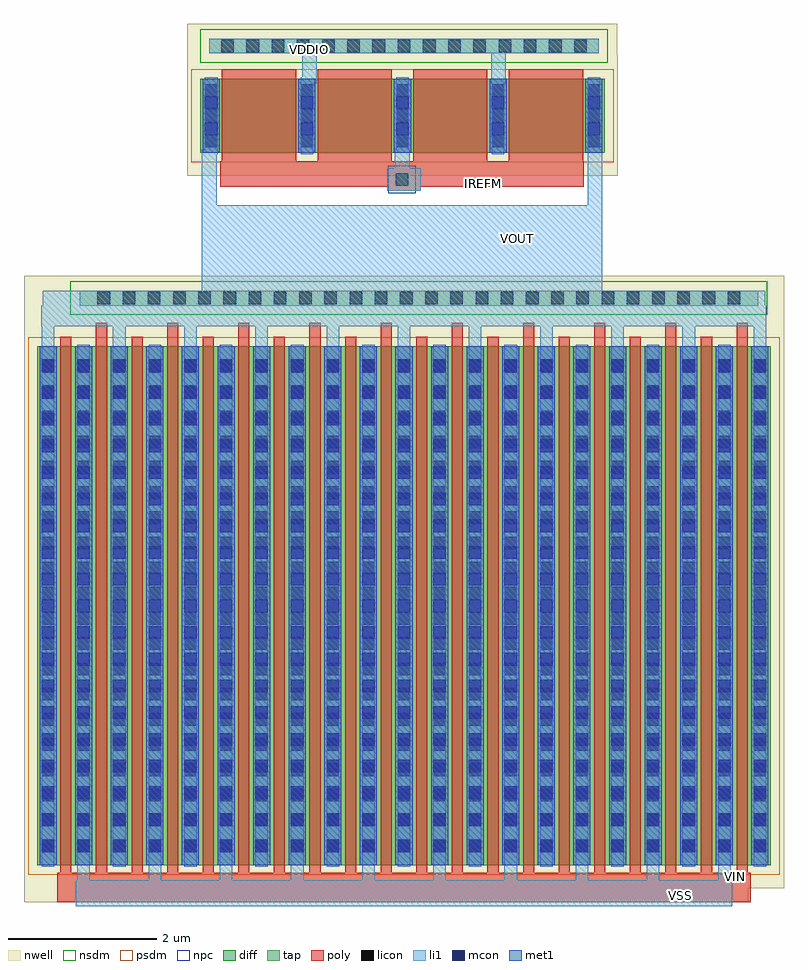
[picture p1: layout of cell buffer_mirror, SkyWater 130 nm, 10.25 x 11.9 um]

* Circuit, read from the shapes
.subckt buffer_mirror IREFM VDDIO VIN VOUT VSS
XM1 VSS VIN VOUT VOUT sky130_fd_pr__pfet_01v8 w=7 l=0.15 m=20
XM2 VDDIO IREFM VOUT VDDIO sky130_fd_pr__pfet_01v8 w=1 l=1 m=2
XM3 IREFM IREFM VDDIO VDDIO sky130_fd_pr__pfet_01v8 w=1 l=1 m=2
.ends

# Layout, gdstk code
import gdstk
lib = gdstk.Library(unit=1e-6, precision=1e-09)
def R(c, l, rs):  # rectangles x0, y0, x1, y1
    for r in rs: c.add(gdstk.rectangle(r[:2], r[2:], *l))
def A(c, l, x, y, w, h, nx, ny, dx, dy):  # array of equal rectangles
    R(c, l, [(x+i*dx, y+j*dy, x+i*dx+w, y+j*dy+h) for i in range(nx) for j in range(ny)])
nwell = (64, 20)
diff = (65, 20)
tap = (65, 44)
poly = (66, 20)
licon = (66, 44)
li1 = (67, 20)
mcon = (67, 44)
met1 = (68, 20)
nsdm = (93, 44)
psdm = (94, 20)
npc = (95, 20)

sky130_fd_pr__pfet_01v8_ = lib.new_cell('sky130_fd_pr__pfet_01v8_5R6ESJ')
R(sky130_fd_pr__pfet_01v8_, nwell, [(-2.905,-0.81,2.905,0.81)])
R(sky130_fd_pr__pfet_01v8_, diff, [(-2.725,-0.5,2.725,0.5)])
A(sky130_fd_pr__pfet_01v8_, poly, -2.435, -0.63, 1, 1.26, 4, 1, 1.29, 0)
A(sky130_fd_pr__pfet_01v8_, licon, -2.665, -0.425, 0.17, 0.17, 5, 3, 1.29, 0.34)
A(sky130_fd_pr__pfet_01v8_, li1, -2.665, -0.52, 0.17, 1.04, 5, 1, 1.29, 0)
A(sky130_fd_pr__pfet_01v8_, mcon, -2.665, -0.265, 0.17, 0.17, 5, 2, 1.29, 0.36)
A(sky130_fd_pr__pfet_01v8_, met1, -2.695, -0.5, 0.23, 1, 5, 1, 1.29, 0)
R(sky130_fd_pr__pfet_01v8_, psdm, [(-2.85,-0.625,2.85,0.625)])
sky130_fd_pr__pfet_01v8_.add(gdstk.Label('S3', (1.29,0), layer=67, texttype=5))
sky130_fd_pr__pfet_01v8_.add(gdstk.Label('D2', (0,0), layer=67, texttype=5))
sky130_fd_pr__pfet_01v8_.add(gdstk.Label('S1', (-1.29,0), layer=67, texttype=5))
sky130_fd_pr__pfet_01v8_.add(gdstk.Label('D0', (-2.58,0), layer=67, texttype=5))

c_sky130_fd_pr__pfet_01v8_ = lib.new_cell('sky130_fd_pr__pfet_01v8_RWCRRT')
R(c_sky130_fd_pr__pfet_01v8_, nwell, [(-2.725,-4,2.245,-3.81), (-2.725,-3.81,2.725,3.81), (-2.245,3.81,2.725,4)])
R(c_sky130_fd_pr__pfet_01v8_, diff, [(-2.545,-3.5,2.545,3.5)])
A(c_sky130_fd_pr__pfet_01v8_, poly, -2.235, -3.82, 0.15, 7.45, 5, 1, 0.96, 0)
A(c_sky130_fd_pr__pfet_01v8_, poly, -1.755, -3.63, 0.15, 7.45, 5, 1, 0.96, 0)
A(c_sky130_fd_pr__pfet_01v8_, licon, -2.485, -3.315, 0.17, 0.17, 11, 20, 0.48, 0.34)
A(c_sky130_fd_pr__pfet_01v8_, li1, -2.485, -3.52, 0.17, 7.04, 11, 1, 0.48, 0)
A(c_sky130_fd_pr__pfet_01v8_, mcon, -2.485, -3.325, 0.17, 0.17, 11, 19, 0.48, 0.36)
A(c_sky130_fd_pr__pfet_01v8_, met1, -2.515, -3.5, 0.23, 7, 11, 1, 0.48, 0)
R(c_sky130_fd_pr__pfet_01v8_, psdm, [(-2.67,-3.625,2.67,3.625)])
c_sky130_fd_pr__pfet_01v8_.add(gdstk.Label('S7', (0.96,0), layer=67, texttype=5))
c_sky130_fd_pr__pfet_01v8_.add(gdstk.Label('D6', (0.48,0), layer=67, texttype=5))
c_sky130_fd_pr__pfet_01v8_.add(gdstk.Label('S5', (0,0), layer=67, texttype=5))
c_sky130_fd_pr__pfet_01v8_.add(gdstk.Label('D4', (-0.48,0), layer=67, texttype=5))
c_sky130_fd_pr__pfet_01v8_.add(gdstk.Label('D8', (1.44,0), layer=67, texttype=5))
c_sky130_fd_pr__pfet_01v8_.add(gdstk.Label('S3', (-0.96,0), layer=67, texttype=5))
c_sky130_fd_pr__pfet_01v8_.add(gdstk.Label('S9', (1.92,0), layer=67, texttype=5))
c_sky130_fd_pr__pfet_01v8_.add(gdstk.Label('D2', (-1.44,0), layer=67, texttype=5))
c_sky130_fd_pr__pfet_01v8_.add(gdstk.Label('S1', (-1.92,0), layer=67, texttype=5))
c_sky130_fd_pr__pfet_01v8_.add(gdstk.Label('D0', (-2.4,0), layer=67, texttype=5))

buffer_mirror = lib.new_cell('buffer_mirror')
R(buffer_mirror, nwell, [(-2.2,-1.75,8.05,-1.05), (0,1.9,5.8,2.35)])
R(buffer_mirror, tap, [(-1.45,-1.45,7.7,-1.25), (0.3,1.95,5.55,2.15)])
R(buffer_mirror, poly, [(-1.75,-9.5,7.6,-9.1), (2.7,0.1,3.15,0.15), (0.45,0.15,5.35,0.5)])
A(buffer_mirror, licon, -1.21, -1.435, 0.17, 0.17, 26, 1, 0.34, 0)
A(buffer_mirror, licon, 0.46, 1.965, 0.17, 0.17, 15, 1, 0.34, 0)
R(buffer_mirror, licon, [(2.815,0.165,2.985,0.335)])
A(buffer_mirror, li1, -1.48, -9.2, 0.17, 0.35, 10, 1, 0.96, 0)
A(buffer_mirror, li1, -1.48, -2.06, 0.17, 0.01, 10, 1, 0.96, 0)
A(buffer_mirror, li1, -1.96, -2.01, 0.17, 0.28, 11, 1, 0.96, 0)
R(buffer_mirror, li1, [(-1.5,-9.55,7.35,-9.2), (-1.965,-1.73,7.81,-1.45), (-1.95,-1.45,7.8,-1.25), (0.2,-1.25,5.6,-0.1), (0.2,-0.1,0.4,0.65), (5.4,-0.1,5.6,0.7), (2.7,0.1,3.15,0.4), (2.8,0.4,3,0.65), (1.55,1.55,1.75,1.95), (4.1,1.55,4.3,1.95), (0.3,1.95,5.55,2.15)])
R(buffer_mirror, nsdm, [(-1.575,-1.575,7.825,-1.125), (0.175,1.825,5.675,2.275)])
R(buffer_mirror, npc, [(2.715,0.065,3.085,0.435)])
buffer_mirror.add(gdstk.Reference(sky130_fd_pr__pfet_01v8_, (2.905,1.11)))
buffer_mirror.add(gdstk.Reference(c_sky130_fd_pr__pfet_01v8_, (0.525,-5.5)))
buffer_mirror.add(gdstk.Reference(c_sky130_fd_pr__pfet_01v8_, (5.325,-5.5)))
buffer_mirror.add(gdstk.Label('VOUT', (4.45,-0.55), layer=67, texttype=5))
buffer_mirror.add(gdstk.Label('VSS', (6.65,-9.4), layer=67, texttype=5))
buffer_mirror.add(gdstk.Label('VDDIO', (1.65,2), layer=67, texttype=5))
buffer_mirror.add(gdstk.Label('IREFM', (4,0.2), layer=66, texttype=5))
buffer_mirror.add(gdstk.Label('VIN', (7.4,-9.15), layer=66, texttype=5))

lib.write_gds('buffer_mirror.gds')
